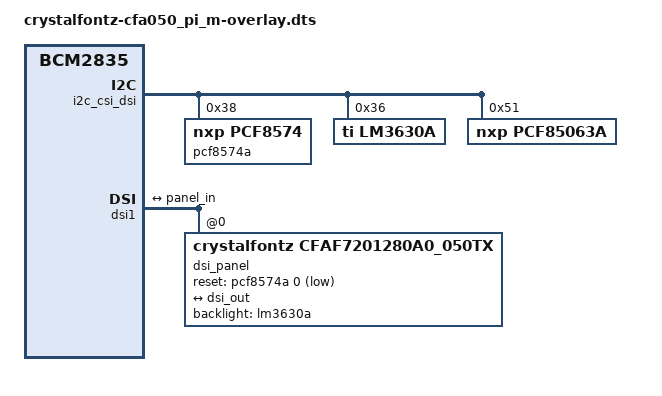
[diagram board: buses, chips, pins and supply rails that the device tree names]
/*
 * crystalfontz-cfa050_pi_m-overlay.dts
 * Configures the Crystalfontz CFA050-PI-M series of modules
 * using CFAF7201280A0-050TC/TN panels with RaspberryPi CM4 DSI1
 */
/dts-v1/;
/plugin/;

#include <dt-bindings/gpio/gpio.h>

/{
// RaspberryPi CM4
	compatible = "brcm,bcm2835";
// PCF8574 I2C GPIO EXPANDER
	frag0: fragment@0 {
		target = <&i2c_csi_dsi>;
		__overlay__ {
			#address-cells = <1>;
			#size-cells = <0>;
			status = "okay";
			pcf8574a: pcf8574a@38 {
				reg = <0x38>;
				compatible = "nxp,pcf8574";
				gpio-controller;
				#gpio-cells = <2>;
				ngpios = <8>;
				gpio-line-names = "TFT_RESET", "TOUCH_RESET", "EXT_P2", "EXT_P3",
					"EXT_P4", "EXT_P5", "EXT_P6", "EXT_P7";
			};
		};
	};
// LM3630a BACKLIGHT LED CONTROLLER
	frag1: fragment@1 {
		target = <&i2c_csi_dsi>;
		__overlay__ {
			#address-cells = <1>;
			#size-cells = <0>;
			status = "okay";
			lm3630a: backlight@36 {
				reg = <0x36>;
				compatible = "ti,lm3630a";
				#address-cells = <1>;
				#size-cells = <0>;
				led@0 {
					reg = <0>;
					led-sources = <0 1>;
					label = "lcd-backlight";
					default-brightness = <255>;
					max-brightness = <255>;
				};
			};
		};
	};
// PCF85063A RTC on I2C
	frag2: fragment@2 {
		target = <&i2c_csi_dsi>;
		__overlay__ {
			#address-cells = <1>;
			#size-cells = <0>;
			status = "okay";
			pcf85063a@51 {
				compatible = "nxp,pcf85063a";
				reg = <0x51>;
			};
		};
	};

// CFAF7201280A0_050Tx TFT DSI PANEL
	fragment@3 {
		target = <&dsi1>;
		__overlay__  {
			#address-cells = <1>;
			#size-cells = <0>;
			status = "okay";
			port {
				dsi_out: endpoint {
					remote-endpoint = <&panel_in>;
				};
			};
			dsi_panel: dsi_panel@0 {
				compatible = "crystalfontz,cfaf7201280a0_050tx";
				reg = <0>;
				reset-gpios = <&pcf8574a 0 1>;
				backlight = <&lm3630a>;
				fps = <60>;
				port {
					panel_in: endpoint {
						remote-endpoint = <&dsi_out>;
					};
				};
			};
		};
	};
// GT928 TOUCH CONTROLLER IC
	frag4: fragment@4 {
		target = <&i2c_csi_dsi>;
		__dormant__ {
			#address-cells = <1>;
			#size-cells = <0>;
			status = "okay";
			gt928: gt928@5d {
				compatible = "goodix,gt928";
				reg = <0x5d>;
				interrupt-parent = <&gpio>;
				interrupts = <26 2>; //gpio 26, 2=high-to-low trigger
				irq-gpios = <&gpio 26 (GPIO_ACTIVE_HIGH | GPIO_PULL_UP)>;
				reset-gpios = <&pcf8574a 1 0>;
				touchscreen-inverted-x;
				touchscreen-inverted-y;
			};
		};
	};
//OVERLAY OPTIONS
	__overrides__ {
		//enables captouch
		captouch = <0>,"+4";
		//changes options to support CM5 (default is CM4)
		cm5 = <&frag0>, "target:0=",<&i2c_csi_dsi0>,
			<&frag1>, "target:0=",<&i2c_csi_dsi0>,
			<&frag2>, "target:0=",<&i2c_csi_dsi0>,
			<&frag4>, "target:0=",<&i2c_csi_dsi0>;
	};
};
